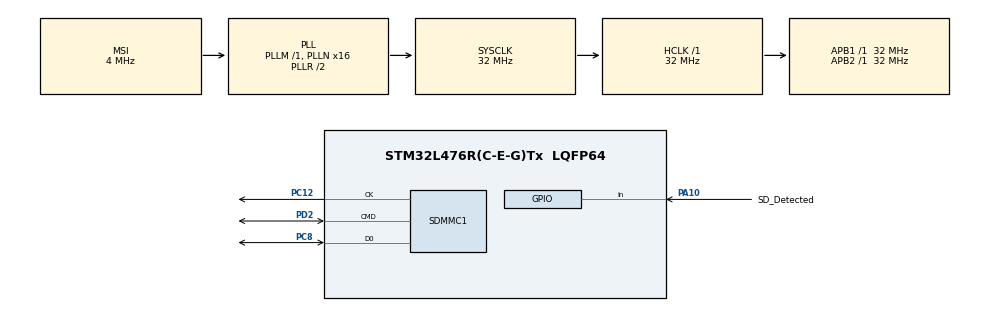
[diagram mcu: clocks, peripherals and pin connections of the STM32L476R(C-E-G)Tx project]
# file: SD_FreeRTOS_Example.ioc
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Mcu.Family=STM32L4
VP_SYS_VS_tim6.Mode=TIM6
RCC.CortexFreq_Value=32000000
FATFS._USE_LFN=2
FATFS0.BSP.api=Unknown
Dma.SDMMC1.0.Priority=DMA_PRIORITY_VERY_HIGH
NVIC.TIM6_DAC_IRQn=true\:0\:0\:false\:false\:true\:false\:false\:true
VP_FATFS_VS_SDIO.Mode=SDIO
PA10.GPIO_PuPd=GPIO_PULLDOWN
PC12.Signal=SDMMC1_CK
RCC.SYSCLKSource=RCC_SYSCLKSOURCE_PLLCLK
ProjectManager.StackSize=0x1200
VP_FREERTOS_VS_CMSIS_V2.Mode=CMSIS_V2
PA14\ (JTCK-SWCLK).Signal=SYS_JTCK-SWCLK
NVIC.SDMMC1_IRQn=true\:5\:0\:true\:false\:true\:true\:true\:true
Dma.SDMMC1.0.Direction=DMA_MEMORY_TO_PERIPH
RCC.HCLKFreq_Value=32000000
RCC.APB2TimFreq_Value=32000000
Dma.SDMMC1.0.MemInc=DMA_MINC_ENABLE
RCC.AHBFreq_Value=32000000
FATFS0.BSP.ip=GPIO
RCC.HSE_VALUE=8000000
FATFS0.BSP.i2caddr=0
NVIC.DMA2_Channel4_IRQn=true\:5\:0\:true\:false\:true\:true\:false\:true
Dma.SDMMC1.0.Instance=DMA2_Channel4
PA10.GPIO_Label=SD_Detected
Mcu.Package=LQFP64
NVIC.TimeBase=TIM6_DAC_IRQn
FATFS0.BSP.solution=PA10
NVIC.TimeBaseIP=TIM6
PA10.Signal=GPIO_Input
RCC.APB1TimFreq_Value=32000000
PC12.GPIO_PuPd=GPIO_PULLUP
PA13\ (JTMS-SWDIO).Signal=SYS_JTMS-SWDIO
Dma.Request0=SDMMC1
RCC.PLLSAI1Q=RCC_PLLQ_DIV4
RCC.PLLSAI1N=16
RCC.MSI_VALUE=4000000
Dma.SDMMC1.0.PeriphDataAlignment=DMA_PDATAALIGN_WORD
PA14\ (JTCK-SWCLK).Mode=Serial_Wire
FATFS0.BSP.STBoard=false
FREERTOS.Tasks01=defaultTask,24,128,StartDefaultTask,Default,NULL,Dynamic,NULL,NULL;SDTask,32,512,Start_SD_Task,Default,NULL,Static,SDTaskBuffer,SDTaskControlBlock
PD2.GPIO_PuPd=GPIO_PULLUP
FATFS0.BSP.mode=Input
PC8.Signal=SDMMC1_D0
FATFS0.BSP.instance=PA10
ProjectManager.TargetToolchain=STM32CubeIDE
FATFS._CODE_PAGE=850
Dma.SDMMC1.0.PeriphInc=DMA_PINC_DISABLE
RCC.USBFreq_Value=16000000
Dma.SDMMC1.0.MemDataAlignment=DMA_MDATAALIGN_WORD
RCC.LSE_VALUE=32768
FATFS.BSP.number=1
PD2.Mode=SD_1_bit
PC12.Mode=SD_1_bit
FATFS._STRF_ENCODE=0
board=custom
Dma.SDMMC1.0.Mode=DMA_NORMAL
RCC.VCOOutputFreq_Value=64000000
FATFS.USE_DMA_CODE_SD=1
RCC.APB2Freq_Value=32000000
RCC.ADCFreq_Value=32000000
Mcu.Name=STM32L476R(C-E-G)Tx
FATFS._MAX_SS=4096
PC8.Mode=SD_1_bit
PC8.GPIO_PuPd=GPIO_PULLUP
PA13\ (JTMS-SWDIO).Mode=Serial_Wire
RCC.SYSCLKFreq_VALUE=32000000
ProjectManager.HeapSize=0x600
RCC.HSI_VALUE=16000000
NVIC.PriorityGroup=NVIC_PRIORITYGROUP_4
RCC.PLLN=16
PD2.Signal=SDMMC1_CMD
RCC.APB1Freq_Value=32000000
FATFS0.BSP.name=Detect_SDIO

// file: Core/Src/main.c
/* USER CODE BEGIN Header */
/**
  ******************************************************************************
  * @file           : main.c
  * @brief          : Main program body
  ******************************************************************************
  * @attention
  *
  * <h2><center>&copy; Copyright (c) 2021 STMicroelectronics.
  * All rights reserved.</center></h2>
  *
  * This software component is licensed by ST under Ultimate Liberty license
  * SLA0044, the "License"; You may not use this file except in compliance with
  * the License. You may obtain a copy of the License at:
  *                             www.st.com/SLA0044
  *
  ******************************************************************************
  */
/* USER CODE END Header */
#include "main.h"
#include "cmsis_os.h"
#include "fatfs.h"

/* USER CODE BEGIN Includes */
#include "sd.h"
/* USER CODE END Includes */

typedef StaticTask_t osStaticThreadDef_t;

/* USER CODE BEGIN PD */
#define CODE_CORRECTION_SD
/* USER CODE END PD */

SD_HandleTypeDef hsd1;
DMA_HandleTypeDef hdma_sdmmc1;

/* Definitions for defaultTask */
osThreadId_t defaultTaskHandle;
const osThreadAttr_t defaultTask_attributes = {
  .name = "defaultTask",
  .stack_size = 128 * 4,
  .priority = (osPriority_t) osPriorityNormal,
};
/* Definitions for SDTask */
osThreadId_t SDTaskHandle;
uint32_t SDTaskBuffer[ 512 ];
osStaticThreadDef_t SDTaskControlBlock;
const osThreadAttr_t SDTask_attributes = {
  .name = "SDTask",
  .cb_mem = &SDTaskControlBlock,
  .cb_size = sizeof(SDTaskControlBlock),
  .stack_mem = &SDTaskBuffer[0],
  .stack_size = sizeof(SDTaskBuffer),
  .priority = (osPriority_t) osPriorityAboveNormal,
};

void SystemClock_Config(void);
static void MX_GPIO_Init(void);
static void MX_DMA_Init(void);
static void MX_SDMMC1_SD_Init(void);
void StartDefaultTask(void *argument);
void Start_SD_Task(void *argument);

int main(void)
{

  /* MCU Configuration--------------------------------------------------------*/

  /* Reset of all peripherals, Initializes the Flash interface and the Systick. */
  HAL_Init();

  /* Configure the system clock */
  SystemClock_Config();

  /* Initialize all configured peripherals */
  MX_GPIO_Init();
  MX_DMA_Init();
  MX_SDMMC1_SD_Init();
  MX_FATFS_Init();

  /* Init scheduler */
  osKernelInitialize();

  /* Create the thread(s) */
  /* creation of defaultTask */
  defaultTaskHandle = osThreadNew(StartDefaultTask, NULL, &defaultTask_attributes);

  /* creation of SDTask */
  SDTaskHandle = osThreadNew(Start_SD_Task, NULL, &SDTask_attributes);

  /* Start scheduler */
  osKernelStart();

  /* We should never get here as control is now taken by the scheduler */
  /* Infinite loop */
  while (1)
  {

  }
}

void SystemClock_Config(void)
{
  RCC_OscInitTypeDef RCC_OscInitStruct = {0};
  RCC_ClkInitTypeDef RCC_ClkInitStruct = {0};
  RCC_PeriphCLKInitTypeDef PeriphClkInit = {0};

  /** Initializes the RCC Oscillators according to the specified parameters
  * in the RCC_OscInitTypeDef structure.
  */
  RCC_OscInitStruct.OscillatorType = RCC_OSCILLATORTYPE_MSI;
  RCC_OscInitStruct.MSIState = RCC_MSI_ON;
  RCC_OscInitStruct.MSICalibrationValue = 0;
  RCC_OscInitStruct.MSIClockRange = RCC_MSIRANGE_6;
  RCC_OscInitStruct.PLL.PLLState = RCC_PLL_ON;
  RCC_OscInitStruct.PLL.PLLSource = RCC_PLLSOURCE_MSI;
  RCC_OscInitStruct.PLL.PLLM = 1;
  RCC_OscInitStruct.PLL.PLLN = 16;
  RCC_OscInitStruct.PLL.PLLP = RCC_PLLP_DIV7;
  RCC_OscInitStruct.PLL.PLLQ = RCC_PLLQ_DIV2;
  RCC_OscInitStruct.PLL.PLLR = RCC_PLLR_DIV2;
  if (HAL_RCC_OscConfig(&RCC_OscInitStruct) != HAL_OK)
  {
    Error_Handler();
  }
  /** Initializes the CPU, AHB and APB buses clocks
  */
  RCC_ClkInitStruct.ClockType = RCC_CLOCKTYPE_HCLK|RCC_CLOCKTYPE_SYSCLK
                              |RCC_CLOCKTYPE_PCLK1|RCC_CLOCKTYPE_PCLK2;
  RCC_ClkInitStruct.SYSCLKSource = RCC_SYSCLKSOURCE_PLLCLK;
  RCC_ClkInitStruct.AHBCLKDivider = RCC_SYSCLK_DIV1;
  RCC_ClkInitStruct.APB1CLKDivider = RCC_HCLK_DIV1;
  RCC_ClkInitStruct.APB2CLKDivider = RCC_HCLK_DIV1;

  if (HAL_RCC_ClockConfig(&RCC_ClkInitStruct, FLASH_LATENCY_1) != HAL_OK)
  {
    Error_Handler();
  }
  PeriphClkInit.PeriphClockSelection = RCC_PERIPHCLK_SDMMC1;
  PeriphClkInit.Sdmmc1ClockSelection = RCC_SDMMC1CLKSOURCE_PLLSAI1;
  PeriphClkInit.PLLSAI1.PLLSAI1Source = RCC_PLLSOURCE_MSI;
  PeriphClkInit.PLLSAI1.PLLSAI1M = 1;
  PeriphClkInit.PLLSAI1.PLLSAI1N = 16;
  PeriphClkInit.PLLSAI1.PLLSAI1P = RCC_PLLP_DIV7;
  PeriphClkInit.PLLSAI1.PLLSAI1Q = RCC_PLLQ_DIV4;
  PeriphClkInit.PLLSAI1.PLLSAI1R = RCC_PLLR_DIV2;
  PeriphClkInit.PLLSAI1.PLLSAI1ClockOut = RCC_PLLSAI1_48M2CLK;
  if (HAL_RCCEx_PeriphCLKConfig(&PeriphClkInit) != HAL_OK)
  {
    Error_Handler();
  }
  /** Configure the main internal regulator output voltage
  */
  if (HAL_PWREx_ControlVoltageScaling(PWR_REGULATOR_VOLTAGE_SCALE1) != HAL_OK)
  {
    Error_Handler();
  }
}

static void MX_SDMMC1_SD_Init(void)
{

  hsd1.Instance = SDMMC1;
  hsd1.Init.ClockEdge = SDMMC_CLOCK_EDGE_RISING;
  hsd1.Init.ClockBypass = SDMMC_CLOCK_BYPASS_DISABLE;
  hsd1.Init.ClockPowerSave = SDMMC_CLOCK_POWER_SAVE_DISABLE;
  hsd1.Init.BusWide = SDMMC_BUS_WIDE_1B;
  hsd1.Init.HardwareFlowControl = SDMMC_HARDWARE_FLOW_CONTROL_DISABLE;
  hsd1.Init.ClockDiv = 0;

}

static void MX_DMA_Init(void)
{

  /* DMA controller clock enable */
  __HAL_RCC_DMA2_CLK_ENABLE();

  /* DMA interrupt init */
  /* DMA2_Channel4_IRQn interrupt configuration */
  HAL_NVIC_SetPriority(DMA2_Channel4_IRQn, 5, 0);
  HAL_NVIC_EnableIRQ(DMA2_Channel4_IRQn);

}

static void MX_GPIO_Init(void)
{
  GPIO_InitTypeDef GPIO_InitStruct = {0};

  /* GPIO Ports Clock Enable */
  __HAL_RCC_GPIOC_CLK_ENABLE();
  __HAL_RCC_GPIOA_CLK_ENABLE();
  __HAL_RCC_GPIOD_CLK_ENABLE();

  /*Configure GPIO pin : SD_Detected_Pin */
  GPIO_InitStruct.Pin = SD_Detected_Pin;
  GPIO_InitStruct.Mode = GPIO_MODE_INPUT;
  GPIO_InitStruct.Pull = GPIO_PULLDOWN;
  HAL_GPIO_Init(SD_Detected_GPIO_Port, &GPIO_InitStruct);

}

void StartDefaultTask(void *argument)
{
  for(;;)
  {
    osDelay(1);
  }
}

void Start_SD_Task(void *argument)
{
  /* USER CODE BEGIN Start_SD_Task */
  /* Infinite loop */
  SD_CARD sd;
  int32_t byteswritten, bytesread; //file write/read counts
  uint8_t wtext[] = "Test run"; //file buffer
  uint8_t file_path[50] = "/sub_test/stm32.txt";
  for(;;)
  {
	//taskENTER_CRITICAL();
	if(init_sd(&sd) != FR_OK) {
	  Error_Handler();
    }
	else { //file system already exists, try to open a file

		bytesread = read_from_file(&sd, file_path, 35);

		memcpy(&sd.write_buffer, wtext, sizeof(wtext));
		byteswritten = write_to_file(&sd, file_path, sizeof(wtext) - 1);

		unmount(&sd);
	}
	//taskEXIT_CRITICAL();
	vTaskSuspend(NULL);
	osDelay(10000);
  }
  /* USER CODE END Start_SD_Task */
}

 /**
  * @brief  Period elapsed callback in non blocking mode
  * @note   This function is called  when TIM6 interrupt took place, inside
  * HAL_TIM_IRQHandler(). It makes a direct call to HAL_IncTick() to increment
  * a global variable "uwTick" used as application time base.
  * @param  htim : TIM handle
  * @retval None
  */
void HAL_TIM_PeriodElapsedCallback(TIM_HandleTypeDef *htim)
{
  if (htim->Instance == TIM6) {
    HAL_IncTick();
  }
}

void Error_Handler(void)
{
  __disable_irq();
  while (1)
  {
  }
}

/************************ (C) COPYRIGHT STMicroelectronics *****END OF FILE****/
